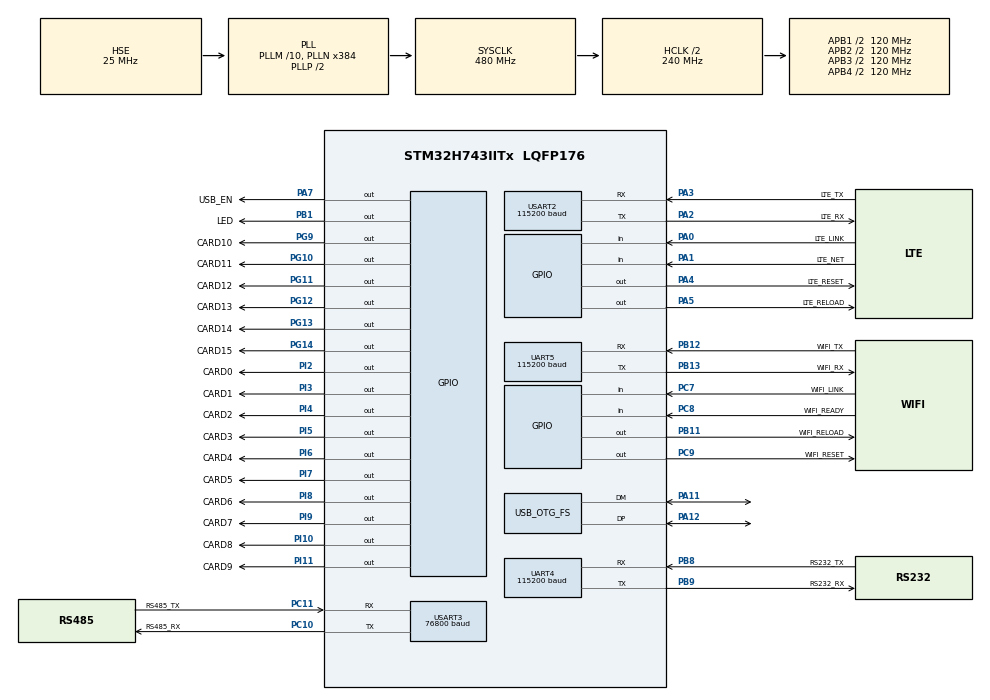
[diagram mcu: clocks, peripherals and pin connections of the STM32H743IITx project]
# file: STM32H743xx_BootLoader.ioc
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CORTEX_M7.CPU_DCache=Disabled
CORTEX_M7.CPU_ICache=Enabled
CORTEX_M7.Enable_S-Cortex_Memory_Protection_Unit_Region1_Settings_S=__NULL
CORTEX_M7.MPU_Control=MPU_PRIVILEGED_DEFAULT
CORTEX_M7.default_mode_Activation=1
Mcu.Family=STM32H7
Mcu.Name=STM32H743IITx
Mcu.Package=LQFP176
NVIC.FLASH_IRQn=true\:5\:0\:false\:false\:true\:false\:true\:true
NVIC.OTG_FS_IRQn=true\:5\:0\:false\:false\:true\:true\:false\:true
NVIC.PriorityGroup=NVIC_PRIORITYGROUP_4
PA0.GPIO_Label=LTE_LINK
PA0.GPIO_PuPd=GPIO_PULLUP
PA0.Signal=GPIO_Input
PA1.GPIO_Label=LTE_NET
PA1.GPIO_PuPd=GPIO_PULLUP
PA1.Signal=GPIO_Input
PA11.GPIO_PuPd=GPIO_PULLUP
PA11.GPIO_Speed=GPIO_SPEED_FREQ_VERY_HIGH
PA11.Mode=Device_Only
PA11.Signal=USB_OTG_FS_DM
PA12.GPIO_PuPd=GPIO_PULLUP
PA12.GPIO_Speed=GPIO_SPEED_FREQ_VERY_HIGH
PA12.Mode=Device_Only
PA12.Signal=USB_OTG_FS_DP
PA13\ (JTMS/SWDIO).Mode=JTAG_5_pins
PA13\ (JTMS/SWDIO).Signal=DEBUG_JTMS-SWDIO
PA14\ (JTCK/SWCLK).Mode=JTAG_5_pins
PA14\ (JTCK/SWCLK).Signal=DEBUG_JTCK-SWCLK
PA15\ (JTDI).Mode=JTAG_5_pins
PA15\ (JTDI).Signal=DEBUG_JTDI
PA2.GPIO_Label=LTE_RX
PA2.GPIO_PuPd=GPIO_PULLUP
PA2.GPIO_Speed=GPIO_SPEED_FREQ_HIGH
PA2.Mode=Asynchronous
PA2.Signal=USART2_TX
PA3.GPIO_Label=LTE_TX
PA3.GPIO_Speed=GPIO_SPEED_FREQ_HIGH
PA3.Mode=Asynchronous
PA3.Signal=USART2_RX
PA4.GPIO_Label=LTE_RESET
PA4.GPIO_PuPd=GPIO_PULLUP
PA4.PinState=GPIO_PIN_SET
PA4.Signal=GPIO_Output
PA5.GPIO_Label=LTE_RELOAD
PA5.GPIO_PuPd=GPIO_PULLUP
PA5.PinState=GPIO_PIN_SET
PA5.Signal=GPIO_Output
PA7.GPIO_Label=USB_EN
PA7.GPIO_PuPd=GPIO_PULLUP
PA7.Signal=GPIO_Output
PB1.GPIO_Label=LED
PB1.GPIO_PuPd=GPIO_PULLUP
PB1.PinState=GPIO_PIN_SET
PB1.Signal=GPIO_Output
PB11.GPIO_Label=WIFI_RELOAD
PB11.GPIO_PuPd=GPIO_PULLUP
PB11.PinState=GPIO_PIN_SET
PB11.Signal=GPIO_Output
PB12.GPIO_Label=WIFI_TX
PB12.GPIO_PuPd=GPIO_NOPULL
PB12.Mode=Asynchronous
PB12.Signal=UART5_RX
PB13.GPIO_Label=WIFI_RX
PB13.Mode=Asynchronous
PB13.Signal=UART5_TX
PB3\ (JTDO/TRACESWO).Mode=JTAG_5_pins
PB3\ (JTDO/TRACESWO).PinAttribute=Free
PB3\ (JTDO/TRACESWO).Signal=DEBUG_JTDO-SWO
PB4\ (NJTRST).Mode=JTAG_5_pins
PB4\ (NJTRST).PinAttribute=Free
PB4\ (NJTRST).Signal=DEBUG_JTRST
PB8.GPIO_Label=RS232_TX
PB8.GPIO_PuPd=GPIO_PULLUP
PB8.GPIO_Speed=GPIO_SPEED_FREQ_MEDIUM
PB8.Mode=Asynchronous
PB8.PinAttribute=Free
PB8.Signal=UART4_RX
PB9.GPIO_Label=RS232_RX
PB9.GPIO_PuPd=GPIO_PULLUP
PB9.GPIO_Speed=GPIO_SPEED_FREQ_MEDIUM
PB9.Mode=Asynchronous
PB9.PinAttribute=Free
PB9.Signal=UART4_TX
PC10.GPIO_Label=RS485_RX
PC10.GPIO_PuPd=GPIO_PULLUP
PC10.GPIO_Speed=GPIO_SPEED_FREQ_LOW
PC10.Mode=Asynchronous
PC10.Signal=USART3_TX
PC11.GPIO_Label=RS485_TX
PC11.GPIO_PuPd=GPIO_PULLUP
PC11.Mode=Asynchronous
PC11.Signal=USART3_RX
PC14-OSC32_IN\ (OSC32_IN).Mode=LSE-External-Oscillator
PC14-OSC32_IN\ (OSC32_IN).Signal=RCC_OSC32_IN
PC15-OSC32_OUT\ (OSC32_OUT).Mode=LSE-External-Oscillator
PC15-OSC32_OUT\ (OSC32_OUT).Signal=RCC_OSC32_OUT
PC7.GPIO_Label=WIFI_LINK
PC7.GPIO_PuPd=GPIO_PULLUP
PC7.Signal=GPIO_Input
PC8.GPIO_Label=WIFI_READY
PC8.GPIO_PuPd=GPIO_PULLUP
PC8.Signal=GPIO_Input
PC9.GPIO_Label=WIFI_RESET
PC9.GPIO_PuPd=GPIO_PULLUP
PC9.PinState=GPIO_PIN_SET
PC9.Signal=GPIO_Output
PG10.GPIO_Label=CARD11
PG10.GPIO_PuPd=GPIO_PULLUP
PG10.PinState=GPIO_PIN_SET
PG10.Signal=GPIO_Output
PG11.GPIO_Label=CARD12
PG11.GPIO_PuPd=GPIO_PULLUP
PG11.PinState=GPIO_PIN_SET
PG11.Signal=GPIO_Output
PG12.GPIO_Label=CARD13
PG12.GPIO_PuPd=GPIO_PULLUP
PG12.PinState=GPIO_PIN_SET
PG12.Signal=GPIO_Output
PG13.GPIO_Label=CARD14
PG13.GPIO_PuPd=GPIO_PULLUP
PG13.PinState=GPIO_PIN_SET
PG13.Signal=GPIO_Output
PG14.GPIO_Label=CARD15
PG14.GPIO_PuPd=GPIO_PULLUP
PG14.PinAttribute=Free
PG14.PinState=GPIO_PIN_SET
PG14.Signal=GPIO_Output
PG9.GPIO_Label=CARD10
PG9.GPIO_PuPd=GPIO_PULLUP
PG9.PinState=GPIO_PIN_SET
PG9.Signal=GPIO_Output
PH0-OSC_IN\ (PH0).Mode=HSE-External-Oscillator
PH0-OSC_IN\ (PH0).Signal=RCC_OSC_IN
PH1-OSC_OUT\ (PH1).Mode=HSE-External-Oscillator
PH1-OSC_OUT\ (PH1).Signal=RCC_OSC_OUT
PI10.GPIO_Label=CARD8
PI10.GPIO_PuPd=GPIO_PULLUP
PI10.PinState=GPIO_PIN_SET
PI10.Signal=GPIO_Output
PI11.GPIO_Label=CARD9
PI11.GPIO_PuPd=GPIO_PULLUP
PI11.PinState=GPIO_PIN_SET
PI11.Signal=GPIO_Output
PI2.GPIO_Label=CARD0
PI2.GPIO_PuPd=GPIO_PULLUP
PI2.PinState=GPIO_PIN_SET
PI2.Signal=GPIO_Output
PI3.GPIO_Label=CARD1
PI3.GPIO_PuPd=GPIO_PULLUP
PI3.PinState=GPIO_PIN_SET
PI3.Signal=GPIO_Output
PI4.GPIO_Label=CARD2
PI4.GPIO_PuPd=GPIO_PULLUP
PI4.PinAttribute=Free
PI4.PinState=GPIO_PIN_SET
PI4.Signal=GPIO_Output
PI5.GPIO_Label=CARD3
PI5.GPIO_PuPd=GPIO_PULLUP
PI5.PinAttribute=Free
PI5.PinState=GPIO_PIN_SET
PI5.Signal=GPIO_Output
PI6.GPIO_Label=CARD4
PI6.GPIO_PuPd=GPIO_PULLUP
PI6.PinAttribute=Free
PI6.PinState=GPIO_PIN_SET
PI6.Signal=GPIO_Output
PI7.GPIO_Label=CARD5
PI7.GPIO_PuPd=GPIO_PULLUP
PI7.PinAttribute=Free
PI7.PinState=GPIO_PIN_SET
PI7.Signal=GPIO_Output
PI8.GPIO_Label=CARD6
PI8.GPIO_PuPd=GPIO_PULLUP
PI8.PinState=GPIO_PIN_SET
PI8.Signal=GPIO_Output
PI9.GPIO_Label=CARD7
PI9.GPIO_PuPd=GPIO_PULLUP
PI9.PinState=GPIO_PIN_SET
PI9.Signal=GPIO_Output
ProjectManager.HeapSize=0x200
ProjectManager.StackSize=0x800
ProjectManager.TargetToolchain=MDK-ARM V5.27
RCC.ADCFreq_Value=50390625
RCC.APB1Freq_Value=120000000
RCC.APB2Freq_Value=120000000
RCC.APB3Freq_Value=120000000
RCC.APB4Freq_Value=120000000
RCC.CortexFreq_Value=480000000
RCC.D1PPRE=RCC_APB3_DIV2
RCC.D2PPRE1=RCC_APB1_DIV2
RCC.D2PPRE2=RCC_APB2_DIV2
RCC.D3PPRE=RCC_APB4_DIV2
RCC.DIVM1=10
RCC.DIVN1=384
RCC.DIVQ1=8
RCC.FLatency=FLASH_LATENCY_4
RCC.HCLKFreq_Value=240000000
RCC.HPRE=RCC_HCLK_DIV2
RCC.HSE_VALUE=25000000
RCC.PLLFRACN=0
RCC.PLLSourceVirtual=RCC_PLLSOURCE_HSE
RCC.PWR_Regulator_Voltage_Scale=PWR_REGULATOR_VOLTAGE_SCALE0
RCC.SYSCLKFreq_VALUE=480000000
RCC.SYSCLKSource=RCC_SYSCLKSOURCE_PLLCLK
RCC.USBCLockSelection=RCC_USBCLKSOURCE_HSI48
RCC.USBFreq_Value=48000000
UART4.AutoBaudRateEnableParam=UART_ADVFEATURE_AUTOBAUDRATE_DISABLE
UART4.BaudRate=115200
UART4.ClockPrescaler=PRESCALER_DIV1
UART4.DMADisableonRxErrorParam=UART_ADVFEATURE_DMA_ENABLEONRXERROR
UART4.DataInvertParam=UART_ADVFEATURE_DATAINV_DISABLE
UART4.FIFOMode=FIFOMODE_DISABLE
UART4.MSBFirstParam=UART_ADVFEATURE_MSBFIRST_DISABLE
UART4.Mode=MODE_TX_RX
UART4.OneBitSampling=UART_ONE_BIT_SAMPLE_DISABLE
UART4.OverSampling=UART_OVERSAMPLING_16
UART4.OverrunDisableParam=UART_ADVFEATURE_OVERRUN_ENABLE
UART4.Parity=PARITY_NONE
UART4.RXFIFOThreshold=RXFIFO_THRESHOLD_1EIGHTHFULL
UART4.RxPinLevelInvertParam=UART_ADVFEATURE_RXINV_DISABLE
UART4.StopBits=UART_STOPBITS_1
UART4.SwapParam=UART_ADVFEATURE_SWAP_DISABLE
UART4.TXFIFOThreshold=TXFIFO_THRESHOLD_1EIGHTHFULL
UART4.TxPinLevelInvertParam=UART_ADVFEATURE_TXINV_DISABLE
UART4.WordLength=WORDLENGTH_8B
UART5.AutoBaudRateEnableParam=UART_ADVFEATURE_AUTOBAUDRATE_DISABLE
UART5.BaudRate=115200
UART5.ClockPrescaler=PRESCALER_DIV1
UART5.DMADisableonRxErrorParam=UART_ADVFEATURE_DMA_ENABLEONRXERROR
UART5.DataInvertParam=UART_ADVFEATURE_DATAINV_DISABLE
UART5.FIFOMode=FIFOMODE_DISABLE
UART5.MSBFirstParam=UART_ADVFEATURE_MSBFIRST_DISABLE
UART5.Mode=MODE_TX_RX
UART5.OneBitSampling=UART_ONE_BIT_SAMPLE_DISABLE
UART5.OverSampling=UART_OVERSAMPLING_16
UART5.OverrunDisableParam=UART_ADVFEATURE_OVERRUN_ENABLE
UART5.Parity=PARITY_NONE
UART5.RXFIFOThreshold=RXFIFO_THRESHOLD_1EIGHTHFULL
UART5.RxPinLevelInvertParam=UART_ADVFEATURE_RXINV_DISABLE
UART5.StopBits=UART_STOPBITS_1
UART5.SwapParam=UART_ADVFEATURE_SWAP_DISABLE
UART5.TXFIFOThreshold=TXFIFO_THRESHOLD_1EIGHTHFULL
UART5.TxPinLevelInvertParam=UART_ADVFEATURE_TXINV_DISABLE
UART5.WordLength=WORDLENGTH_8B
USART2.AutoBaudRateEnableParam=UART_ADVFEATURE_AUTOBAUDRATE_DISABLE
USART2.BaudRate=115200
USART2.ClockPrescaler=PRESCALER_DIV1
USART2.DMADisableonRxErrorParam=ADVFEATURE_DMA_ENABLEONRXERROR
USART2.DataInvertParam=ADVFEATURE_DATAINV_DISABLE
USART2.FIFOMode=FIFOMODE_DISABLE
USART2.MSBFirstParam=ADVFEATURE_MSBFIRST_DISABLE
USART2.Mode=MODE_TX_RX
USART2.OneBitSampling=UART_ONE_BIT_SAMPLE_DISABLE
USART2.OverSampling=UART_OVERSAMPLING_16
USART2.OverrunDisableParam=ADVFEATURE_OVERRUN_ENABLE
USART2.Parity=PARITY_NONE
USART2.RXFIFOThreshold=RXFIFO_THRESHOLD_1EIGHTHFULL
USART2.RxPinLevelInvertParam=ADVFEATURE_RXINV_DISABLE
USART2.StopBits=STOPBITS_1
USART2.SwapParam=ADVFEATURE_SWAP_DISABLE
USART2.TXFIFOThreshold=TXFIFO_THRESHOLD_1EIGHTHFULL
USART2.TxPinLevelInvertParam=ADVFEATURE_TXINV_DISABLE
USART2.VirtualMode-Asynchronous=VM_ASYNC
USART2.WordLength=WORDLENGTH_8B
USART3.AutoBaudRateEnableParam=UART_ADVFEATURE_AUTOBAUDRATE_DISABLE
USART3.BaudRate=76800
USART3.ClockPrescaler=PRESCALER_DIV1
USART3.DMADisableonRxErrorParam=ADVFEATURE_DMA_ENABLEONRXERROR
USART3.DataInvertParam=ADVFEATURE_DATAINV_DISABLE
USART3.FIFOMode=FIFOMODE_DISABLE
USART3.MSBFirstParam=ADVFEATURE_MSBFIRST_DISABLE
USART3.Mode=MODE_TX_RX
USART3.OneBitSampling=UART_ONE_BIT_SAMPLE_DISABLE
USART3.OverSampling=UART_OVERSAMPLING_16
USART3.OverrunDisableParam=ADVFEATURE_OVERRUN_ENABLE
USART3.Parity=PARITY_NONE
USART3.RXFIFOThreshold=RXFIFO_THRESHOLD_1EIGHTHFULL
USART3.RxPinLevelInvertParam=ADVFEATURE_RXINV_DISABLE
USART3.StopBits=STOPBITS_1
USART3.SwapParam=ADVFEATURE_SWAP_DISABLE
USART3.TXFIFOThreshold=TXFIFO_THRESHOLD_1EIGHTHFULL
USART3.TxPinLevelInvertParam=ADVFEATURE_TXINV_DISABLE
USART3.VirtualMode-Asynchronous=VM_ASYNC
USART3.WordLength=WORDLENGTH_8B
USB_DEVICE.APP_RX_DATA_SIZE-CDC_FS=1024
USB_DEVICE.APP_TX_DATA_SIZE-CDC_FS=512
USB_DEVICE.CLASS_NAME_FS=CDC
USB_DEVICE.CONFIGURATION_STRING_CDC_FS=CDC Config
USB_DEVICE.INTERFACE_STRING_CDC_FS=CDC Interface
USB_DEVICE.LANGID_STRING-CDC_FS=1033
USB_DEVICE.MANUFACTURER_STRING-CDC_FS=STMicroelectronics
USB_DEVICE.PID_CDC_FS=22336
USB_DEVICE.PRODUCT_STRING_CDC_FS=STM32 Virtual ComPort
USB_DEVICE.USBD_DEBUG_LEVEL-CDC_FS=0
USB_DEVICE.USBD_MAX_NUM_CONFIGURATION-CDC_FS=1
USB_DEVICE.USBD_MAX_NUM_INTERFACES-CDC_FS=1
USB_DEVICE.USBD_MAX_STR_DESC_SIZ-CDC_FS=512
USB_DEVICE.USBD_SELF_POWERED-CDC_FS=1
USB_DEVICE.VID-CDC_FS=1155
USB_DEVICE.VirtualMode-CDC_FS=Cdc
USB_DEVICE.VirtualModeFS=Cdc_FS
USB_OTG_FS.Sof_enable=DISABLE
USB_OTG_FS.VirtualMode=Device_Only
USB_OTG_FS.battery_charging_enable=DISABLE
USB_OTG_FS.dma_enable=DISABLE
USB_OTG_FS.low_power_enable=DISABLE
USB_OTG_FS.lpm_enable=DISABLE
USB_OTG_FS.use_dedicated_ep1=DISABLE
USB_OTG_FS.vbus_sensing_enable=DISABLE
VP_USB_DEVICE_VS_USB_DEVICE_CDC_FS.Mode=CDC_FS
board=custom

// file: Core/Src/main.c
/* USER CODE BEGIN Header */
/**
 ******************************************************************************
 * @file           : main.c
 * @brief          : Main program body
 ******************************************************************************
 * @attention
 *
 * Copyright (c) 2022 STMicroelectronics.
 * All rights reserved.
 *
 * This software is licensed under terms that can be found in the LICENSE file
 * in the root directory of this software component.
 * If no LICENSE file comes with this software, it is provided AS-IS.
 *
 ******************************************************************************
 */
/* USER CODE END Header */
#include "main.h"
#include "usart.h"
#include "usb_device.h"
#include "gpio.h"

/* USER CODE BEGIN Includes */
#include "menu.h"
#include "flash_if.h"
#include "ymodem.h"
#include "common.h"
/* USER CODE END Includes */

/* USER CODE BEGIN PTD */
uint32_t gJump_ApplicationAddr = 0;
uint32_t gUpdate_flag = 0;
extern pFunction JumpToApplication;
extern uint32_t JumpAddress;
/* USER CODE END PTD */

void SystemClock_Config(void);
static void MPU_Config(void);

int main(void)
{
  /* USER CODE BEGIN 1 */
  /*Open interrupt*/
  // __set_FAULTMASK(0);
  /* USER CODE END 1 */

  /* MPU Configuration--------------------------------------------------------*/
  MPU_Config();

  /* Enable I-Cache---------------------------------------------------------*/
  SCB_EnableICache();

  /* Enable D-Cache---------------------------------------------------------*/
  // SCB_EnableDCache();

  /* MCU Configuration--------------------------------------------------------*/

  /* Reset of all peripherals, Initializes the Flash interface and the Systick. */
  HAL_Init();

  /* Configure the system clock */
  SystemClock_Config();

  /* USER CODE BEGIN SysInit */
  /*Solve the problem of abnormal operation of some peripherals
  caused by incomplete reset after power on.*/
  HAL_Delay(1000);
  /* USER CODE END SysInit */

  /* Initialize all configured peripherals */
  MX_GPIO_Init();
  MX_UART4_Init();
  MX_USART3_UART_Init();
  MX_UART5_Init();
  MX_USB_DEVICE_Init();
  MX_USART2_UART_Init();
  /* USER CODE BEGIN 2 */
  FLASH_If_Init();
  /* USER CODE END 2 */

  /* Infinite loop */
  while (1)
  {

    /* USER CODE BEGIN 3 */
    gUpdate_flag = (*(__IO uint32_t *)UPDATE_SAVE_ADDRESS);
    uint32_t jump_addr = (((gUpdate_flag & 0xFFFF0000) >> 16U) == UPDATE_APP1) ? APPLICATION1_ADDRESS
                                                                               : ((((gUpdate_flag & 0xFFFF0000) >> 16U) == UPDATE_APP2) ? APPLICATION2_ADDRESS : APPLICATION1_ADDRESS);
    /*Record the execution address of the current application*/
    gJump_ApplicationAddr = jump_addr;
    // __ISB();
    // __DSB();
    if (((gUpdate_flag & 0x0000FFFF) == UPDATE_CMD) || (!jump_addr))
    {
      Serial_PutString((uint8_t *)"\r\nIAP Start .......\r\n");
      /* Initialise Flash */
      // FLASH_If_Init();
      /* Display main menu */
      Main_Menu();
    }
    else
    {
      uint32_t temp_addr = (*(__IO uint32_t *)jump_addr) & 0x2FFE0000;
      /* Test if user code is programmed starting from address "jump_addr" */
      if (((temp_addr == 0x20000000) || (temp_addr == 0x24040000)) && jump_addr)
      {
        /* Jump to user application */
        JumpAddress = *(__IO uint32_t *)(jump_addr + 4);
        if ((JumpAddress & jump_addr) == jump_addr)
        {
          if (jump_addr == APPLICATION1_ADDRESS)
          {
            Serial_PutString((uint8_t *)"\r\nApp1 starts execution ......\r\n");
          }
          else if (jump_addr == APPLICATION2_ADDRESS)
          {
            Serial_PutString((uint8_t *)"\r\nApp2 starts execution ......\r\n");
          }
          JumpToApplication = (pFunction)JumpAddress;
          __disable_irq();
          SysTick->CTRL = 0, SysTick->LOAD = 0, SysTick->VAL = 0;
          for (uint8_t i = 0; i < 8; i++)
          {
            NVIC->ICER[i] = 0xFFFFFFFF;
            NVIC->ICPR[i] = 0xFFFFFFFF;
          }
          // HAL_UART_MspDeInit(&huart2);
          // HAL_UART_MspDeInit(&huart3);
          // HAL_UART_MspDeInit(&huart4);
          // HAL_UART_MspDeInit(&huart5);
          /*Restore clock configuration*/
          // HAL_RCC_DeInit();
          // __enable_irq();
          /* Initialize user application's Stack Pointer */
          __set_MSP(*(__IO uint32_t *)jump_addr);
          // __set_CONTROL(0);
          /*Close interrupt*/
          // __set_FAULTMASK(1);
          JumpToApplication();
        }
        else
        {
          Serial_PutString((uint8_t *)"\r\nError: The application address does not match the jump address!\r\n");
        }
      }
      else
      {
        Serial_PutString((uint8_t *)"\r\nJump address error: please check the interrupt vector and program address !\r\n");
        // HAL_GPIO_TogglePin(WDI_GPIO_Port, WDI_Pin);
        // HAL_Delay(500);
        // /*Jump failed. Restart bootloader*/
        // gUpdate_flag = ((uint32_t)(gUpdate_flag & 0xFFFF0000) | UPDATE_CMD);
        // /* erase user application area */
        // FLASH_If_Erase(UPDATE_SAVE_ADDRESS, FLASH_SECTOR_SIZE);
        // /*Upgrade success flag will be written in flash*/
        // FLASH_If_Write(UPDATE_SAVE_ADDRESS, &gUpdate_flag, 1U);
        // NVIC_SystemReset();
      }
    }
    Serial_PutString((uint8_t *)"\r\nNote: The system starts to restart......\r\n");
    /*重启系统*/
    HAL_Delay(500);
    /*Jump failed. Restart bootloader*/
    gUpdate_flag = ((uint32_t)(gUpdate_flag & 0xFFFF0000) | UPDATE_CMD);
    /* erase user application area */
    FLASH_If_Erase(UPDATE_SAVE_ADDRESS, FLASH_SECTOR_SIZE);
    /*Upgrade success flag will be written in flash*/
    FLASH_If_Write(UPDATE_SAVE_ADDRESS, &gUpdate_flag, 1U);
    NVIC_SystemReset();
  }
  /* USER CODE END 3 */
}

void SystemClock_Config(void)
{
  RCC_OscInitTypeDef RCC_OscInitStruct = {0};
  RCC_ClkInitTypeDef RCC_ClkInitStruct = {0};

  /** Supply configuration update enable
   */
  HAL_PWREx_ConfigSupply(PWR_LDO_SUPPLY);

  /** Configure the main internal regulator output voltage
   */
  __HAL_PWR_VOLTAGESCALING_CONFIG(PWR_REGULATOR_VOLTAGE_SCALE0);

  while (!__HAL_PWR_GET_FLAG(PWR_FLAG_VOSRDY))
  {
  }

  /** Initializes the RCC Oscillators according to the specified parameters
   * in the RCC_OscInitTypeDef structure.
   */
  RCC_OscInitStruct.OscillatorType = RCC_OSCILLATORTYPE_HSI48 | RCC_OSCILLATORTYPE_HSE;
  RCC_OscInitStruct.HSEState = RCC_HSE_ON;
  RCC_OscInitStruct.HSI48State = RCC_HSI48_ON;
  RCC_OscInitStruct.PLL.PLLState = RCC_PLL_ON;
  RCC_OscInitStruct.PLL.PLLSource = RCC_PLLSOURCE_HSE;
  RCC_OscInitStruct.PLL.PLLM = 10;
  RCC_OscInitStruct.PLL.PLLN = 384;
  RCC_OscInitStruct.PLL.PLLP = 2;
  RCC_OscInitStruct.PLL.PLLQ = 8;
  RCC_OscInitStruct.PLL.PLLR = 2;
  RCC_OscInitStruct.PLL.PLLRGE = RCC_PLL1VCIRANGE_1;
  RCC_OscInitStruct.PLL.PLLVCOSEL = RCC_PLL1VCOWIDE;
  RCC_OscInitStruct.PLL.PLLFRACN = 0;
  if (HAL_RCC_OscConfig(&RCC_OscInitStruct) != HAL_OK)
  {
    Error_Handler();
  }

  /** Initializes the CPU, AHB and APB buses clocks
   */
  RCC_ClkInitStruct.ClockType = RCC_CLOCKTYPE_HCLK | RCC_CLOCKTYPE_SYSCLK | RCC_CLOCKTYPE_PCLK1 | RCC_CLOCKTYPE_PCLK2 | RCC_CLOCKTYPE_D3PCLK1 | RCC_CLOCKTYPE_D1PCLK1;
  RCC_ClkInitStruct.SYSCLKSource = RCC_SYSCLKSOURCE_PLLCLK;
  RCC_ClkInitStruct.SYSCLKDivider = RCC_SYSCLK_DIV1;
  RCC_ClkInitStruct.AHBCLKDivider = RCC_HCLK_DIV2;
  RCC_ClkInitStruct.APB3CLKDivider = RCC_APB3_DIV2;
  RCC_ClkInitStruct.APB1CLKDivider = RCC_APB1_DIV2;
  RCC_ClkInitStruct.APB2CLKDivider = RCC_APB2_DIV2;
  RCC_ClkInitStruct.APB4CLKDivider = RCC_APB4_DIV2;

  if (HAL_RCC_ClockConfig(&RCC_ClkInitStruct, FLASH_LATENCY_4) != HAL_OK)
  {
    Error_Handler();
  }
}

/* USER CODE BEGIN 4 */
/**
 * @brief This function handles System tick timer.
 */
void SysTick_Handler(void)
{
  /* USER CODE BEGIN SysTick_IRQn 0 */

  /* USER CODE END SysTick_IRQn 0 */
  HAL_IncTick();
  /* USER CODE BEGIN SysTick_IRQn 1 */

  /* USER CODE END SysTick_IRQn 1 */
}
/* USER CODE END 4 */

/* MPU Configuration */

void MPU_Config(void)
{
  MPU_Region_InitTypeDef MPU_InitStruct = {0};

  /* Disables the MPU */
  HAL_MPU_Disable();

  /** Initializes and configures the Region and the memory to be protected
   */
  MPU_InitStruct.Enable = MPU_REGION_ENABLE;
  MPU_InitStruct.Number = MPU_REGION_NUMBER0;
  MPU_InitStruct.BaseAddress = 0x0;
  MPU_InitStruct.Size = MPU_REGION_SIZE_4GB;
  MPU_InitStruct.SubRegionDisable = 0x87;
  MPU_InitStruct.TypeExtField = MPU_TEX_LEVEL0;
  MPU_InitStruct.AccessPermission = MPU_REGION_NO_ACCESS;
  MPU_InitStruct.DisableExec = MPU_INSTRUCTION_ACCESS_DISABLE;
  MPU_InitStruct.IsShareable = MPU_ACCESS_SHAREABLE;
  MPU_InitStruct.IsCacheable = MPU_ACCESS_NOT_CACHEABLE;
  MPU_InitStruct.IsBufferable = MPU_ACCESS_NOT_BUFFERABLE;

  HAL_MPU_ConfigRegion(&MPU_InitStruct);
  /* Enables the MPU */
  HAL_MPU_Enable(MPU_PRIVILEGED_DEFAULT);
}

void Error_Handler(void)
{
  __disable_irq();
  while (1)
  {
  }
}
